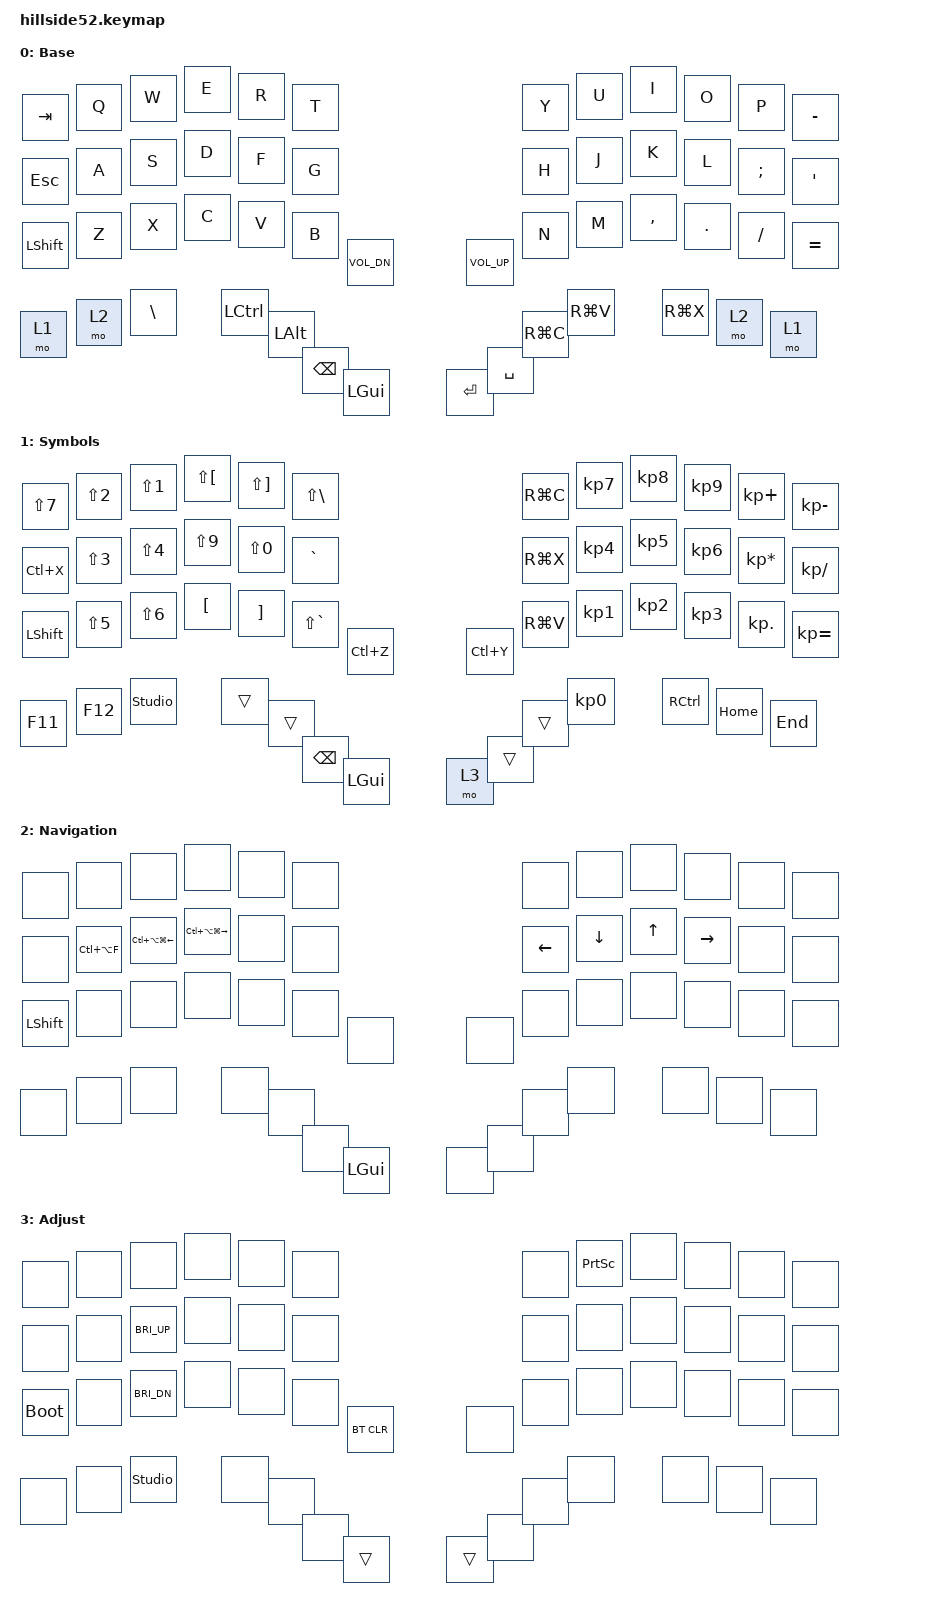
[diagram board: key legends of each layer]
/*
 * Hillside 52 keymap.
 */

#include <behaviors.dtsi>
#include <dt-bindings/zmk/bt.h>
#include <dt-bindings/zmk/keys.h>

/ {
        keymap {
                compatible = "zmk,keymap";

                base_layer {
                        display-name = "Base";
                        bindings = <
&kp TAB              &kp Q                &kp W                &kp E                &kp R                &kp T                &kp Y                &kp U                &kp I                &kp O                &kp P                &kp MINUS
&kp ESC              &kp A                &kp S                &kp D                &kp F                &kp G                &kp H                &kp J                &kp K                &kp L                &kp SEMI             &kp SQT
&kp LSHFT            &kp Z                &kp X                &kp C                &kp V                &kp B                &kp C_VOL_DN         &kp C_VOL_UP         &kp N                &kp M                &kp COMMA            &kp DOT              &kp SLASH            &kp EQUAL
&mo 1                &mo 2                &kp BSLH             &kp LCTRL            &kp LALT             &kp BSPC             &kp LGUI             &kp ENTER            &kp SPACE            &kp RG(C)            &kp RG(V)            &kp RG(X)            &mo 2                &mo 1
                        >;
                };
                symbols_layer {
                        display-name = "Symbols";
                        bindings = <
&kp LS(N7)           &kp LS(N2)           &kp LS(N1)           &kp LS(LBKT)         &kp LS(RBKT)         &kp LS(BSLH)         &kp RG(C)            &kp KP_N7            &kp KP_N8            &kp KP_N9            &kp KP_PLUS          &kp KP_MINUS
&kp LC(X)            &kp LS(N3)           &kp LS(N4)           &kp LS(N9)           &kp LS(N0)           &kp GRAVE            &kp RG(X)            &kp KP_N4            &kp KP_N5            &kp KP_N6            &kp KP_ASTERISK      &kp KP_SLASH
&kp LSHFT            &kp LS(N5)           &kp LS(N6)           &kp LBKT             &kp RBKT             &kp LS(GRAVE)        &kp LC(Z)            &kp LC(Y)            &kp RG(V)            &kp KP_N1            &kp KP_N2            &kp KP_N3            &kp KP_DOT           &kp KP_EQUAL
&kp F11              &kp F12              &studio_unlock       &trans               &trans               &kp BSPC             &kp LGUI             &mo 3                &trans               &trans               &kp KP_N0            &kp RCTRL            &kp HOME             &kp END
                        >;
                };
                navigation_layer {
                        display-name = "Navigation";
                        bindings = <
&none                &none                &none                &none                &none                &none                &none                &none                &none                &none                &none                &none
&none                &kp LC(LA(F))        &kp LC(LA(LG(LEFT))) &kp LC(LA(LG(RIGHT))) &none                &none                &kp LEFT             &kp DOWN             &kp UP               &kp RIGHT            &none                &none
&kp LSHFT            &none                &none                &none                &none                &none                &none                &none                &none                &none                &none                &none                &none                &none
&none                &none                &none                &none                &none                &none                &kp LGUI             &none                &none                &none                &none                &none                &none                &none
                        >;
                };
                adjust_layer {
                        display-name = "Adjust";
                        bindings = <
&none                &none                &none                &none                &none                &none                &none                &kp PRINTSCREEN      &none                &none                &none                &none
&none                &none                &kp C_BRI_UP         &none                &none                &none                &none                &none                &none                &none                &none                &none
&bootloader          &none                &kp C_BRI_DN         &none                &none                &none                &bt BT_CLR           &none                &none                &none                &none                &none                &none                &none
&none                &none                &studio_unlock       &none                &none                &none                &trans               &trans               &none                &none                &none                &none                &none                &none
                        >;
                };
        };
};
